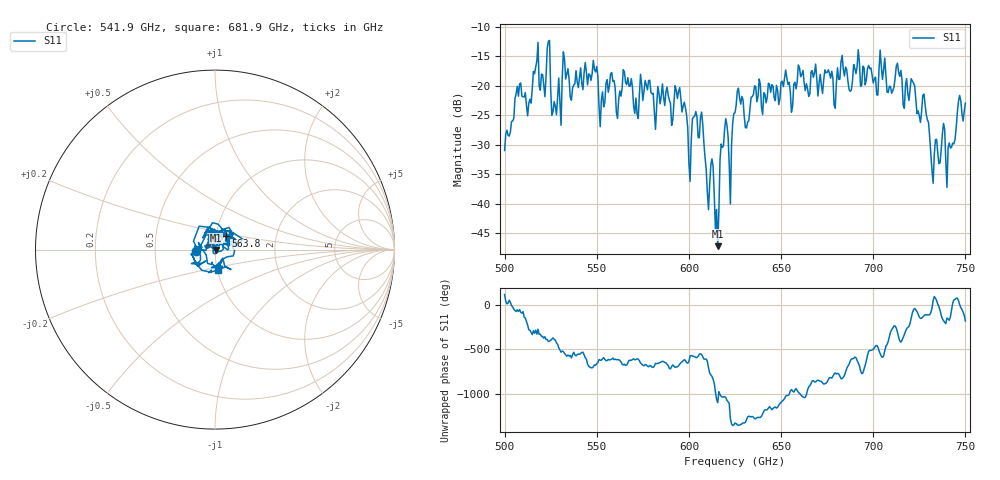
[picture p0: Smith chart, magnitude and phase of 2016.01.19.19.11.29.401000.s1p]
!Created with skrf (http://scikit-rf.org).
# GHz S RI R 50.0
!freq ReS11 ImS11
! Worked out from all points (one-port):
!   401 points, 500 GHz to 750 GHz, reference 50 ohm
!   lowest |S11| = -47.2 dB at 615.6 GHz (marker M1), VSWR 1.01, Z = 50.4 - j0.168 ohm
!   |S11| at or under -10 dB: start of sweep to end of sweep
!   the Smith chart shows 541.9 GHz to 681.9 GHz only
!   S11 on the Smith chart (normalised r, x): 541.9 GHz: 0.81, -0.01; 563.8 GHz: 1.11, +0.17; 681.9 GHz: 1.00, -0.23
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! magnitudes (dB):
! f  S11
! 500 GHz  -31.0
! 507.5 GHz  -21.7
! 513.1 GHz  -23.0
! 516.9 GHz  -16.8
! 520.6 GHz  -18.1
! 523.8 GHz  -12.4
! 526.9 GHz  -22.7
! 531.2 GHz  -18.7
! 541.9 GHz  -19.5
! 562.5 GHz  -20.9
! 563.8 GHz  -20.4
! 571.2 GHz  -22.1
! 593.8 GHz  -22.1
! 600 GHz  -33.2
! 606.9 GHz  -24.5
! 610 GHz  -38.0
! 615.6 GHz  -47.2
! 618.8 GHz  -30.2
! 622.5 GHz  -40.1
! 625 GHz  -24.6
! 656.2 GHz  -23.5
! 681.9 GHz  -18.9
! 687.5 GHz  -20.9
! 705 GHz  -18.9
! 718.8 GHz  -21.3
! 728.1 GHz  -23.0
! 732.5 GHz  -36.5
! 750 GHz  -22.9
